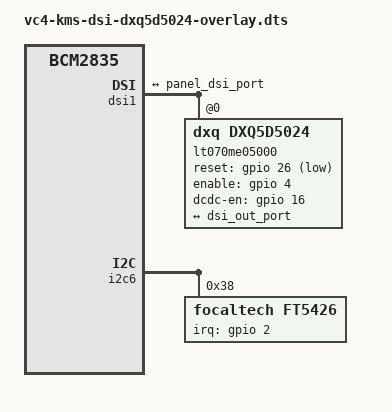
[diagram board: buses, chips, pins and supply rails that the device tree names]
/*
 * Device Tree overlay to connect a DXQ5D4024 DSI panel to DSI1.
 * This uses 4 DSI data lanes, so can only be used with a Compute Module.
 *
 */

/dts-v1/;
/plugin/;

/ {
	compatible = "brcm,bcm2835";

	fragment@0 {
		target = <&dsi1>;
		__overlay__{
			status = "okay";
			#address-cells = <1>;
			#size-cells = <0>;
			port {
				dsi_out_port:endpoint {
					remote-endpoint = <&panel_dsi_port>;
				};
			};

			lt070me05000:lt070me05000@0 {
				compatible    = "dxq,dxq5d5024";
				status        = "okay";
				reg           = <0>;
				reset-gpios   = <&gpio 26 1>;   // LCD RST
				enable-gpios  = <&gpio 4 0>;    // LCD Enable
				dcdc-en-gpios = <&gpio 16 0>;    // LCD DC-DC Enable
				port {
					panel_dsi_port: endpoint {
						remote-endpoint = <&dsi_out_port>;
					};
				};
			};
		};
	};

	fragment@1 {
		target = <&gpio>;
		__overlay__ {
			lt070me05000_pins: lt070me05000_pins {
				brcm,pins = <4 5 17>;
				brcm,function = <1 1 1>; // out
				brcm,pull = <0 0 0>; // off
			};
		};

	};
	
	fragment@2 {
		target = <&i2c6>;
		__overlay__ {
			#address-cells = <1>;
			#size-cells = <0>;
			ft5426@38 {
				compatible = "focaltech,ft5426", "edt,edt-ft5406";
				reg = <0x38>;
		
				interrupt-parent = <&gpio>;
				interrupts = <2 0x2>; /* falling edge */
		
				touchscreen-size-x = <1080>;
				touchscreen-size-y = <1920>;
			};
		};
	};

	__overrides__ {
		reset = <&lt070me05000_pins>,"brcm,pins:8",
			<&lt070me05000>,"reset-gpios:4";

		enable = <&lt070me05000_pins>,"brcm,pins:0",
			<&lt070me05000>,"enable-gpios:4";

		dcdc-en = <&lt070me05000_pins>,"brcm,pins:4",
			<&lt070me05000>,"dcdc-en-gpios:4";
	};
};
